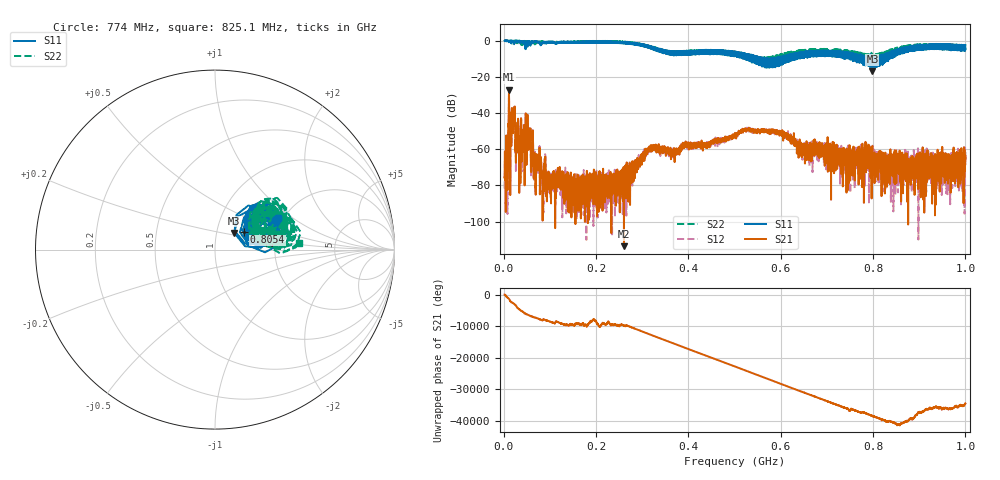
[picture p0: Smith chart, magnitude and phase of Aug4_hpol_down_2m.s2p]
!Keysight Technologies N9923A: A.12.45
!Date: Tuesday, 05 August 2025 17:55:34
!Timezone: (UTC+08:00) Kuala Lumpur, Singapore
!Model: N9923A
!Serial: MY61181427
!GPS Latitude:
!GPS Longitude:
!GPS TimeStamp: 0001-01-01 00:00:00Z
!GPS Seconds Since Last Read: 0
!CHECKSUM:0766029363
!Correction: S11(ON U)S21(ON U)S12(ON U)S22(ON U)
!S2P File: Measurements:S11,S21,S12,S22:
# Hz S DB R 50
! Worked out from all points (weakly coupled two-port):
!   4001 points, 2 MHz to 1 GHz, reference 50 ohm
!   highest |S21| = -27.02 dB at 11.48 MHz (marker M1); lowest = -113.5 dB at 260.5 MHz (marker M2)
!   lowest |S11| = -17.0 dB at 798.7 MHz (marker M3), VSWR 1.33, Z = 60.8 + j11.5 ohm
!   |S11| at or under -10 dB: 562.1224 MHz to 563.4752 MHz (1.353 MHz wide, 0.24 % of centre); 572.2 MHz to 575.3 MHz (3.171 MHz wide, 0.553 % of centre); 799.8692 MHz to 802.7719 MHz (2.903 MHz wide, 0.362 % of centre)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
!   |S22| runs from -13.7 to 0.1 dB; largest |S21 - S12| = 0.0018
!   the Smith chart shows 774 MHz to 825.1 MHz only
!   S11 on the Smith chart (normalised r, x): 774 MHz: 1.85, +0.72; 805.4 MHz: 1.36, +0.27; 825.1 MHz: 1.87, +0.78
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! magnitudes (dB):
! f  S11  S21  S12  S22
! 2 MHz  -0.1  -75.5  -81.7  -0.1
! 11.48 MHz  -0.9  -27.0  -26.9  -0.5
! 19.71 MHz  -0.2  -40.4  -40.4  -0.4
! 29.94 MHz  0.0  -45.2  -45.1  -2.1
! 51.9 MHz  -2.1  -43.4  -43.4  -0.3
! 64.13 MHz  -0.8  -65.0  -67.3  -0.8
! 96.81 MHz  -0.7  -78.3  -76.8  -0.9
! 168.4 MHz  -1.2  -75.3  -83.5  -0.9
! 260.5 MHz  -1.4  -113.5  -77.2  -0.9
! 314.9 MHz  -3.2  -60.8  -59.7  -3.4
! 334.8 MHz  -5.0  -58.8  -59.1  -5.4
! 501 MHz  -6.7  -51.0  -53.1  -7.5
! 584.1 MHz  -10.1  -49.4  -51.0  -8.7
! 667.4 MHz  -8.3  -66.5  -58.9  -7.2
! 774 MHz  -8.4  -70.8  -71.3  -9.7
! 798.7 MHz  -17.0  -61.6  -72.5  -9.2
! 805.4 MHz  -14.5  -63.0  -61.9  -9.2
! 825.1 MHz  -8.1  -65.8  -66.5  -6.6
! 833.8 MHz  -8.3  -78.1  -63.1  -5.5
! 913.9 MHz  -2.5  -68.7  -65.2  -4.0
! 937.1 MHz  -3.9  -72.1  -64.4  -4.1
! 1 GHz  -2.5  -66.4  -61.5  -4.0
